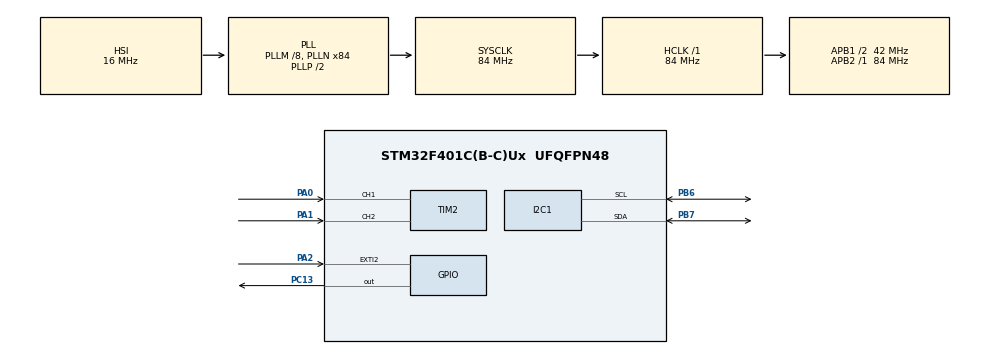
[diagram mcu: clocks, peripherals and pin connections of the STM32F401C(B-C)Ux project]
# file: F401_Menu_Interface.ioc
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Mcu.Family=STM32F4
RCC.CortexFreq_Value=84000000
FREERTOS.Tasks01=encoderPolling,24,128,StartEncoderPolling,Default,NULL,Dynamic,NULL,NULL;oledDisplayUpda,16,128,StartOledDisplayUpdate,Default,NULL,Dynamic,NULL,NULL;lcdSendMessages,17,128,StartlcdSendMessages,Default,NULL,Dynamic,NULL,NULL;lcdDisplayUpdat,8,128,StartLcdDisplayUpdate,Default,NULL,Dynamic,NULL,NULL
PH1\ -\ OSC_OUT.Mode=HSE-External-Oscillator
TIM2.EncoderMode=TIM_ENCODERMODE_TI12
RCC.APB1CLKDivider=RCC_HCLK_DIV2
RCC.SYSCLKSource=RCC_SYSCLKSOURCE_PLLCLK
ProjectManager.StackSize=0x400
PA0-WKUP.Signal=S_TIM2_CH1_ETR
VP_FREERTOS_VS_CMSIS_V2.Mode=CMSIS_V2
PA13.Signal=SYS_JTMS-SWDIO
SH.S_TIM2_CH2.0=TIM2_CH2,Encoder_Interface
PH0\ -\ OSC_IN.Mode=HSE-External-Oscillator
PH0\ -\ OSC_IN.Signal=RCC_OSC_IN
ProjectManager.TargetToolchain=STM32CubeIDE
I2C1.I2C_Mode=I2C_Fast
RCC.HCLKFreq_Value=84000000
RCC.APB2TimFreq_Value=84000000
PB6.Signal=I2C1_SCL
PB6.Mode=I2C
RCC.LSE_VALUE=32768
PA1.Signal=S_TIM2_CH2
RCC.AHBFreq_Value=84000000
NVIC.TIM1_TRG_COM_TIM11_IRQn=true\:0\:0\:false\:false\:true\:false\:false\:true
RCC.HSE_VALUE=25000000
PH1\ -\ OSC_OUT.Signal=RCC_OSC_OUT
board=custom
PC13-ANTI_TAMP.Signal=GPIO_Output
RCC.VCOOutputFreq_Value=168000000
TIM2.IC2Polarity=TIM_ICPOLARITY_RISING
RCC.APB2Freq_Value=84000000
PA14.Mode=Serial_Wire
PB7.Signal=I2C1_SDA
PA13.Mode=Serial_Wire
Mcu.Name=STM32F401C(B-C)Ux
VP_SYS_VS_tim11.Mode=TIM11
PA2.Signal=GPXTI2
RCC.48MHZClocksFreq_Value=42000000
RCC.SYSCLKFreq_VALUE=84000000
Mcu.Package=UFQFPN48
NVIC.TimeBase=TIM1_TRG_COM_TIM11_IRQn
TIM2.IC1Polarity=TIM_ICPOLARITY_RISING
PB7.Mode=I2C
SH.S_TIM2_CH1_ETR.0=TIM2_CH1,Encoder_Interface
NVIC.TimeBaseIP=TIM11
PA14.Signal=SYS_JTCK-SWCLK
ProjectManager.HeapSize=0x200
RCC.HSI_VALUE=16000000
PA2.GPIO_ModeDefaultEXTI=GPIO_MODE_IT_FALLING
FREERTOS.Mutexes01=mutex_position,Dynamic,NULL;mutex_cursor,Dynamic,NULL
NVIC.PriorityGroup=NVIC_PRIORITYGROUP_4
NVIC.EXTI2_IRQn=true\:5\:0\:false\:false\:true\:false\:true\:true
RCC.PLLM=8
RCC.PLLN=84
RCC.APB1TimFreq_Value=84000000
RCC.APB1Freq_Value=42000000

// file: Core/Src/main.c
/* USER CODE BEGIN Header */
/**
  ******************************************************************************
  * @file           : main.c
  * @brief          : Main program body
  ******************************************************************************
  * @attention
  *
  * <h2><center>&copy; Copyright (c) 2021 STMicroelectronics.
  * All rights reserved.</center></h2>
  *
  * This software component is licensed by ST under BSD 3-Clause license,
  * the "License"; You may not use this file except in compliance with the
  * License. You may obtain a copy of the License at:
  *                        opensource.org/licenses/BSD-3-Clause
  *
  ******************************************************************************
  */
/* USER CODE END Header */
#include "main.h"
#include "cmsis_os.h"

/* USER CODE BEGIN Includes */
#include "ssd1306_basic.h"
#include "lcd_i2c.h"
#include "lcd_i2c_RTOS.h"
/* USER CODE END Includes */

I2C_HandleTypeDef hi2c1;

TIM_HandleTypeDef htim2;

/* Definitions for encoderPolling */
osThreadId_t encoderPollingHandle;
const osThreadAttr_t encoderPolling_attributes = {
  .name = "encoderPolling",
  .stack_size = 128 * 4,
  .priority = (osPriority_t) osPriorityNormal,
};
/* Definitions for oledDisplayUpda */
osThreadId_t oledDisplayUpdaHandle;
const osThreadAttr_t oledDisplayUpda_attributes = {
  .name = "oledDisplayUpda",
  .stack_size = 128 * 4,
  .priority = (osPriority_t) osPriorityBelowNormal,
};
/* Definitions for lcdSendMessages */
osThreadId_t lcdSendMessagesHandle;
const osThreadAttr_t lcdSendMessages_attributes = {
  .name = "lcdSendMessages",
  .stack_size = 128 * 4,
  .priority = (osPriority_t) osPriorityBelowNormal1,
};
/* Definitions for lcdDisplayUpdat */
osThreadId_t lcdDisplayUpdatHandle;
const osThreadAttr_t lcdDisplayUpdat_attributes = {
  .name = "lcdDisplayUpdat",
  .stack_size = 128 * 4,
  .priority = (osPriority_t) osPriorityLow,
};
/* Definitions for mutex_position */
osMutexId_t mutex_positionHandle;
const osMutexAttr_t mutex_position_attributes = {
  .name = "mutex_position"
};
/* Definitions for mutex_cursor */
osMutexId_t mutex_cursorHandle;
const osMutexAttr_t mutex_cursor_attributes = {
  .name = "mutex_cursor"
};
/* USER CODE BEGIN PV */
	int16_t position = 0;
	uint8_t cursor_enable = 0;
	uint8_t button_flag = 0;
	uint32_t lastTick = 0;
	uint32_t now;

	ssd1306_t* ssd1306_1;
	lcd_i2c_t* lcd_i2c_1;
	lcd_i2c_RTOS_t* lcd_i2c_RTOS_1;

	uint32_t tick_begin;
	uint32_t tick_end;
	uint32_t time_ms;
/* USER CODE END PV */

void SystemClock_Config(void);
static void MX_GPIO_Init(void);
static void MX_TIM2_Init(void);
static void MX_I2C1_Init(void);
void StartEncoderPolling(void *argument);
void StartOledDisplayUpdate(void *argument);
void StartlcdSendMessages(void *argument);
void StartLcdDisplayUpdate(void *argument);

int main(void)
{

  /* MCU Configuration--------------------------------------------------------*/

  HAL_Init();

  /* Configure the system clock */
  SystemClock_Config();

  /* Initialize all configured peripherals */
  MX_GPIO_Init();
  MX_TIM2_Init();
  MX_I2C1_Init();
  /* USER CODE BEGIN 2 */
  ssd1306_1 = ssd1306_new(&hi2c1, 0x3C<<1); // 0x79
//  lcd_i2c_1 = lcd_i2c_new(&hi2c1, 0x27<<1, 16, 2);
  lcd_i2c_RTOS_1 = lcd_i2c_RTOS_new(&hi2c1, 0x27<<1, 16, 2);

  SSD1306_GotoXY(ssd1306_1, 2, 0);
  SSD1306_Puts(ssd1306_1, "  Menu 1", &Font_11x18, 1);
  SSD1306_GotoXY(ssd1306_1, 2, 18);
  SSD1306_Puts(ssd1306_1, "  Menu 2", &Font_11x18, 1);
  SSD1306_GotoXY(ssd1306_1, 2, 36);
  SSD1306_Puts(ssd1306_1, "  Menu 3", &Font_11x18, 1);
  SSD1306_GotoXY(ssd1306_1, 2, 53);
  SSD1306_Puts(ssd1306_1, "  Menu 4", &Font_7x10, 1);
  SSD1306_GotoXY(ssd1306_1, SSD1306_WIDTH/2, 53);
  SSD1306_Puts(ssd1306_1, "  Menu 5", &Font_7x10, 1);
  SSD1306_UpdateScreen(ssd1306_1);

//  lcd_i2c_Write(lcd_i2c_1, 0, 0, "Hello World!");
//  lcd_i2c_Write(lcd_i2c_1, 1, 0, "LCD 16x2 DEMO");
//  lcd_i2c_Write(lcd_i2c_1, 2, 0, "Blah");
//  lcd_i2c_Write(lcd_i2c_1, 3, 0, "Blah again");

//  char* text = "Hello!";
//  lcd_i2c_RTOS_Write(lcd_i2c_RTOS_1, 0, 0, text, 1);
//  lcd_i2c_RTOS_Write(lcd_i2c_RTOS_1, 1, 0, "Using FreeRTOS", 1);
//  lcd_i2c_RTOS_Write(lcd_i2c_RTOS_1, 2, 0, "Blah");
//  lcd_i2c_RTOS_Write(lcd_i2c_RTOS_1, 3, 0, "Blah again");

  HAL_TIM_Encoder_Start(&htim2, TIM_CHANNEL_ALL);
  /* USER CODE END 2 */

  /* Init scheduler */
  osKernelInitialize();
  /* Create the mutex(es) */
  /* creation of mutex_position */
  mutex_positionHandle = osMutexNew(&mutex_position_attributes);

  /* creation of mutex_cursor */
  mutex_cursorHandle = osMutexNew(&mutex_cursor_attributes);

  /* Create the thread(s) */
  /* creation of encoderPolling */
  encoderPollingHandle = osThreadNew(StartEncoderPolling, NULL, &encoderPolling_attributes);

  /* creation of oledDisplayUpda */
  oledDisplayUpdaHandle = osThreadNew(StartOledDisplayUpdate, NULL, &oledDisplayUpda_attributes);

  /* creation of lcdSendMessages */
  lcdSendMessagesHandle = osThreadNew(StartlcdSendMessages, NULL, &lcdSendMessages_attributes);

  /* creation of lcdDisplayUpdat */
  lcdDisplayUpdatHandle = osThreadNew(StartLcdDisplayUpdate, NULL, &lcdDisplayUpdat_attributes);

  /* Start scheduler */
  osKernelStart();

  /* We should never get here as control is now taken by the scheduler */
  /* Infinite loop */
  while (1)
  {

  }
}

void SystemClock_Config(void)
{
  RCC_OscInitTypeDef RCC_OscInitStruct = {0};
  RCC_ClkInitTypeDef RCC_ClkInitStruct = {0};

  /** Configure the main internal regulator output voltage
  */
  __HAL_RCC_PWR_CLK_ENABLE();
  __HAL_PWR_VOLTAGESCALING_CONFIG(PWR_REGULATOR_VOLTAGE_SCALE2);
  /** Initializes the RCC Oscillators according to the specified parameters
  * in the RCC_OscInitTypeDef structure.
  */
  RCC_OscInitStruct.OscillatorType = RCC_OSCILLATORTYPE_HSI;
  RCC_OscInitStruct.HSIState = RCC_HSI_ON;
  RCC_OscInitStruct.HSICalibrationValue = RCC_HSICALIBRATION_DEFAULT;
  RCC_OscInitStruct.PLL.PLLState = RCC_PLL_ON;
  RCC_OscInitStruct.PLL.PLLSource = RCC_PLLSOURCE_HSI;
  RCC_OscInitStruct.PLL.PLLM = 8;
  RCC_OscInitStruct.PLL.PLLN = 84;
  RCC_OscInitStruct.PLL.PLLP = RCC_PLLP_DIV2;
  RCC_OscInitStruct.PLL.PLLQ = 4;
  if (HAL_RCC_OscConfig(&RCC_OscInitStruct) != HAL_OK)
  {
    Error_Handler();
  }
  /** Initializes the CPU, AHB and APB buses clocks
  */
  RCC_ClkInitStruct.ClockType = RCC_CLOCKTYPE_HCLK|RCC_CLOCKTYPE_SYSCLK
                              |RCC_CLOCKTYPE_PCLK1|RCC_CLOCKTYPE_PCLK2;
  RCC_ClkInitStruct.SYSCLKSource = RCC_SYSCLKSOURCE_PLLCLK;
  RCC_ClkInitStruct.AHBCLKDivider = RCC_SYSCLK_DIV1;
  RCC_ClkInitStruct.APB1CLKDivider = RCC_HCLK_DIV2;
  RCC_ClkInitStruct.APB2CLKDivider = RCC_HCLK_DIV1;

  if (HAL_RCC_ClockConfig(&RCC_ClkInitStruct, FLASH_LATENCY_2) != HAL_OK)
  {
    Error_Handler();
  }
}

static void MX_I2C1_Init(void)
{

  hi2c1.Instance = I2C1;
  hi2c1.Init.ClockSpeed = 400000;
  hi2c1.Init.DutyCycle = I2C_DUTYCYCLE_2;
  hi2c1.Init.OwnAddress1 = 0;
  hi2c1.Init.AddressingMode = I2C_ADDRESSINGMODE_7BIT;
  hi2c1.Init.DualAddressMode = I2C_DUALADDRESS_DISABLE;
  hi2c1.Init.OwnAddress2 = 0;
  hi2c1.Init.GeneralCallMode = I2C_GENERALCALL_DISABLE;
  hi2c1.Init.NoStretchMode = I2C_NOSTRETCH_DISABLE;
  if (HAL_I2C_Init(&hi2c1) != HAL_OK)
  {
    Error_Handler();
  }

}

static void MX_TIM2_Init(void)
{

  TIM_Encoder_InitTypeDef sConfig = {0};
  TIM_MasterConfigTypeDef sMasterConfig = {0};

  htim2.Instance = TIM2;
  htim2.Init.Prescaler = 0;
  htim2.Init.CounterMode = TIM_COUNTERMODE_UP;
  htim2.Init.Period = 4294967295;
  htim2.Init.ClockDivision = TIM_CLOCKDIVISION_DIV1;
  htim2.Init.AutoReloadPreload = TIM_AUTORELOAD_PRELOAD_DISABLE;
  sConfig.EncoderMode = TIM_ENCODERMODE_TI12;
  sConfig.IC1Polarity = TIM_ICPOLARITY_RISING;
  sConfig.IC1Selection = TIM_ICSELECTION_DIRECTTI;
  sConfig.IC1Prescaler = TIM_ICPSC_DIV1;
  sConfig.IC1Filter = 0;
  sConfig.IC2Polarity = TIM_ICPOLARITY_RISING;
  sConfig.IC2Selection = TIM_ICSELECTION_DIRECTTI;
  sConfig.IC2Prescaler = TIM_ICPSC_DIV1;
  sConfig.IC2Filter = 0;
  if (HAL_TIM_Encoder_Init(&htim2, &sConfig) != HAL_OK)
  {
    Error_Handler();
  }
  sMasterConfig.MasterOutputTrigger = TIM_TRGO_RESET;
  sMasterConfig.MasterSlaveMode = TIM_MASTERSLAVEMODE_DISABLE;
  if (HAL_TIMEx_MasterConfigSynchronization(&htim2, &sMasterConfig) != HAL_OK)
  {
    Error_Handler();
  }

}

static void MX_GPIO_Init(void)
{
  GPIO_InitTypeDef GPIO_InitStruct = {0};

  /* GPIO Ports Clock Enable */
  __HAL_RCC_GPIOC_CLK_ENABLE();
  __HAL_RCC_GPIOH_CLK_ENABLE();
  __HAL_RCC_GPIOA_CLK_ENABLE();
  __HAL_RCC_GPIOB_CLK_ENABLE();

  /*Configure GPIO pin Output Level */
  HAL_GPIO_WritePin(GPIOC, GPIO_PIN_13, GPIO_PIN_RESET);

  /*Configure GPIO pin : PC13 */
  GPIO_InitStruct.Pin = GPIO_PIN_13;
  GPIO_InitStruct.Mode = GPIO_MODE_OUTPUT_PP;
  GPIO_InitStruct.Pull = GPIO_NOPULL;
  GPIO_InitStruct.Speed = GPIO_SPEED_FREQ_LOW;
  HAL_GPIO_Init(GPIOC, &GPIO_InitStruct);

  /*Configure GPIO pin : PA2 */
  GPIO_InitStruct.Pin = GPIO_PIN_2;
  GPIO_InitStruct.Mode = GPIO_MODE_IT_FALLING;
  GPIO_InitStruct.Pull = GPIO_NOPULL;
  HAL_GPIO_Init(GPIOA, &GPIO_InitStruct);

  /* EXTI interrupt init*/
  HAL_NVIC_SetPriority(EXTI2_IRQn, 5, 0);
  HAL_NVIC_EnableIRQ(EXTI2_IRQn);

}

/* USER CODE BEGIN 4 */
//void HAL_TIM_IC_CaptureCallback(TIM_HandleTypeDef *htim){
//
//}
void HAL_GPIO_EXTI_Callback(uint16_t GPIO_Pin)
{
	now = HAL_GetTick();
	if (now > lastTick){
		button_flag = 1;
		lastTick = now + 200;
	}
}
/* USER CODE END 4 */

void StartEncoderPolling(void *argument)
{
  /* USER CODE BEGIN 5 */
  /* Infinite loop */
	uint32_t tick = osKernelGetTickCount();
  for(;;)
  {
	osMutexAcquire(mutex_positionHandle, 0);
	position = ((int16_t)__HAL_TIM_GET_COUNTER(&htim2))/4;
	if (position < 0){
		__HAL_TIM_SET_COUNTER(&htim2, 0);
		position = 0;
	}
	if (position > 4){
		__HAL_TIM_SET_COUNTER(&htim2, 4*4);
		position = 4;
	}
	osMutexRelease(mutex_positionHandle);

    if (button_flag){
    	osMutexAcquire(mutex_cursorHandle, 0);
        cursor_enable = !cursor_enable;
        osMutexRelease(mutex_cursorHandle);
        __HAL_TIM_SET_COUNTER(&htim2, 0);
        button_flag = 0;
    }

	tick += 17;
	osDelayUntil(tick);
  }
  osThreadTerminate(NULL);
  /* USER CODE END 5 */
}

void StartOledDisplayUpdate(void *argument)
{
  /* USER CODE BEGIN StartOledDisplayUpdate */
  /* Infinite loop */
    uint32_t tick = osKernelGetTickCount();
  for(;;)
  {
	  osMutexAcquire(mutex_cursorHandle, 0);
	  uint16_t cursor_l = cursor_enable;
	  osMutexRelease(mutex_cursorHandle);

      if (cursor_l){
          osMutexAcquire(mutex_positionHandle, 0);
          int16_t position_l = position;
          osMutexRelease(mutex_positionHandle);

          tick_begin = osKernelGetTickCount();
          SSD1306_SetCursor(ssd1306_1, position_l);
          tick_end = osKernelGetTickCount();
          time_ms = tick_end - tick_begin;
      } else {
          SSD1306_ResetCursor(ssd1306_1);
      }
      SSD1306_UpdateScreen(ssd1306_1);

      tick += 100;
      osDelayUntil(tick);
  }
  osThreadTerminate(NULL);

  /* USER CODE END StartOledDisplayUpdate */
}

void StartlcdSendMessages(void *argument)
{
  /* USER CODE BEGIN StartlcdSendMessages */
  /* Infinite loop */
	uint32_t tick = osKernelGetTickCount();
  for(;;)
  {
	  lcd_i2c_RTOS_Handle_Messages(lcd_i2c_RTOS_1);
	  tick += 1;
	  osDelayUntil(tick);
  }
  osThreadTerminate(NULL);
  /* USER CODE END StartlcdSendMessages */
}

void StartLcdDisplayUpdate(void *argument)
{
  /* USER CODE BEGIN StartLcdDisplayUpdate */
  /* Infinite loop */
	uint32_t tick = osKernelGetTickCount();
	static uint16_t position_last ;
	lcd_i2c_RTOS_Write(lcd_i2c_RTOS_1, 0, 0, "Cursor position:", CLEAR_ON);
	lcd_i2c_RTOS_Write(lcd_i2c_RTOS_1, 1, 0, "0", CLEAR_OFF);
	osThreadResume(lcdSendMessagesHandle);

  for(;;)
  {
	  osMutexAcquire(mutex_cursorHandle, 0);
	  uint16_t cursor_l = cursor_enable;
	  osMutexRelease(mutex_cursorHandle);

	  if (cursor_l) {
		  osMutexAcquire(mutex_positionHandle, 0);
		  uint16_t position_l = position;
		  osMutexRelease(mutex_positionHandle);
		  if (position_last != position_l) {
			  char position_str[5];
			  sprintf(position_str, "%d", position_l);
			  lcd_i2c_RTOS_Write(lcd_i2c_RTOS_1, 1, 0, position_str, CLEAR_OFF);
			  osThreadResume(lcdSendMessagesHandle);
			  position_last = position_l;
		  }
	  }
	  tick += 200;
	  osDelayUntil(tick);
  }
  /* USER CODE END StartLcdDisplayUpdate */
}

 /**
  * @brief  Period elapsed callback in non blocking mode
  * @note   This function is called  when TIM11 interrupt took place, inside
  * HAL_TIM_IRQHandler(). It makes a direct call to HAL_IncTick() to increment
  * a global variable "uwTick" used as application time base.
  * @param  htim : TIM handle
  * @retval None
  */
void HAL_TIM_PeriodElapsedCallback(TIM_HandleTypeDef *htim)
{
  if (htim->Instance == TIM11) {
    HAL_IncTick();
  }
}

void Error_Handler(void)
{
  __disable_irq();
  while (1)
  {
  }
}

/************************ (C) COPYRIGHT STMicroelectronics *****END OF FILE****/
